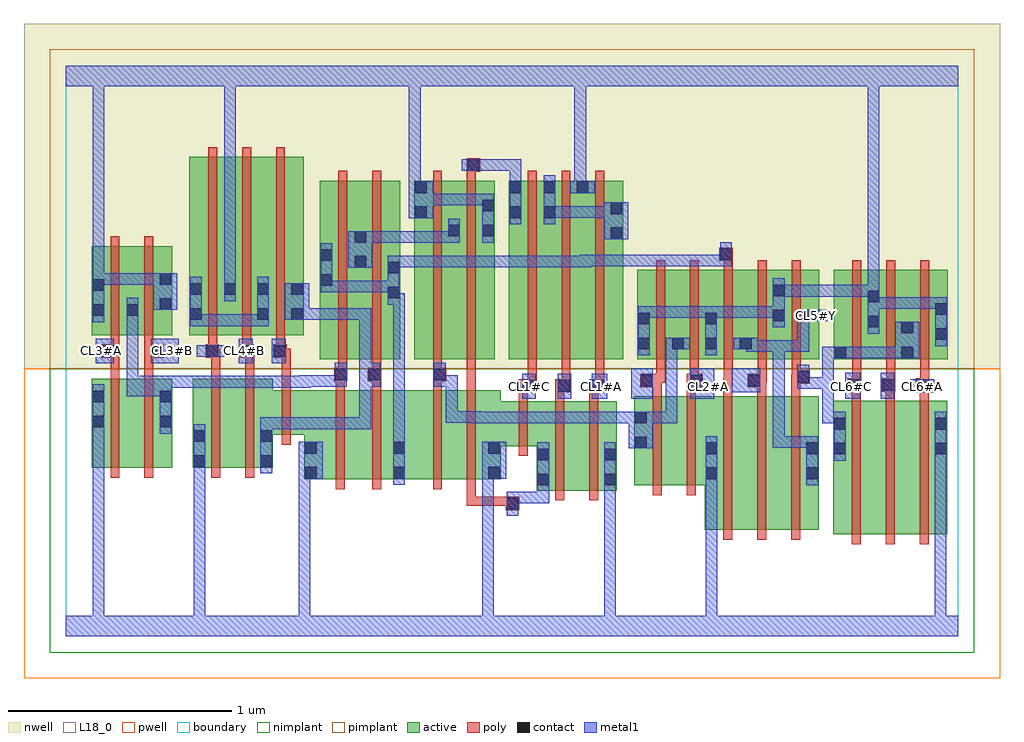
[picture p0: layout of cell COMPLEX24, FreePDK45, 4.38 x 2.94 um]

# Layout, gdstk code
import gdstk
lib = gdstk.Library(unit=1e-6, precision=1e-09)
def R(c, l, rs):  # rectangles x0, y0, x1, y1
    for r in rs: c.add(gdstk.rectangle(r[:2], r[2:], *l))
def A(c, l, x, y, w, h, nx, ny, dx, dy):  # array of equal rectangles
    R(c, l, [(x+i*dx, y+j*dy, x+i*dx+w, y+j*dy+h) for i in range(nx) for j in range(ny)])
active = (1, 0)
pwell = (2, 0)
nwell = (3, 0)
nimplant = (4, 0)
pimplant = (5, 0)
poly = (9, 0)
contact = (10, 0)
metal1 = (11, 0)
L18_0 = (18, 0)
boundary = (235, 0)

complex24 = lib.new_cell('COMPLEX24')
R(complex24, active, [(3.44,0.458,3.5,1.058), (3.44,0.458,3.62,1.058), (3.62,0.458,3.772,1.058), (3.772,0.458,3.952,1.058), (3.892,0.458,3.952,1.058), (2.864,0.478,3.044,1.078), (2.864,0.478,2.924,0.928), (3.044,0.478,3.196,1.078), (3.196,0.478,3.376,1.078), (3.316,0.556,3.376,1.078), (2.11,0.654,2.29,1.054), (2.11,0.654,2.17,1.054), (2.29,0.654,2.47,1.054), (2.41,0.654,2.47,1.054), (2.548,0.678,2.728,1.078), (2.728,0.678,2.924,1.078), (1.068,0.704,1.128,1.104), (1.068,0.704,1.318,1.104), (1.318,0.704,1.524,1.104), (1.464,0.704,1.742,1.104), (1.464,0.704,1.524,0.876), (1.742,0.704,1.95,1.104), (1.89,0.704,1.95,1.028), (0.116,0.756,0.296,1.156), (0.116,0.756,0.176,1.156), (0.296,0.756,0.476,1.156), (0.416,0.756,0.476,1.156), (0.568,0.756,0.748,1.156), (0.568,0.756,0.628,1.156), (0.748,0.756,0.928,1.156), (0.868,0.756,0.928,1.028), (2.548,0.756,2.608,1.078), (1.89,0.854,2.17,1.054), (0.868,0.904,1.128,1.104), (1.138,1.244,1.35,2.044), (1.138,1.244,1.198,2.044), (1.29,1.244,1.498,2.044), (1.438,1.244,1.498,2.044), (1.562,1.244,1.77,2.044), (1.71,1.244,1.922,2.044), (1.862,1.244,1.922,2.044), (1.986,1.244,2.198,2.044), (1.986,1.244,2.046,2.044), (2.138,1.244,2.346,2.044), (2.286,1.244,2.498,2.044), (2.562,1.244,2.622,1.644), (2.562,1.244,2.774,1.644), (2.714,1.244,2.922,1.644), (2.862,1.244,3.078,1.644), (3.018,1.244,3.226,1.644), (3.166,1.244,3.226,1.644), (3.166,1.244,3.378,1.644), (3.318,1.244,3.378,1.644), (3.442,1.244,3.502,1.644), (3.442,1.244,3.65,1.644), (3.59,1.244,3.802,1.644), (3.742,1.244,3.802,1.644), (3.742,1.244,3.954,1.644), (3.894,1.244,3.954,1.644), (2.714,1.284,2.774,1.644), (2.862,1.284,2.922,1.644), (3.018,1.284,3.078,1.644), (0.116,1.35,0.176,1.75), (0.116,1.35,0.328,1.75), (0.268,1.35,0.476,1.75), (0.416,1.35,0.476,1.75), (0.554,1.35,0.766,2.15), (0.554,1.35,0.614,2.044), (0.706,1.35,0.914,2.15), (0.854,1.35,1.066,2.15), (0.854,1.35,0.914,2.044), (1.006,1.35,1.066,2.044), (3.59,1.382,3.65,1.644), (1.29,1.426,1.35,2.044), (0.268,1.434,0.328,1.644), (1.562,1.452,1.622,2.044), (2.438,1.452,2.498,2.044), (1.71,1.5,1.77,2.044), (0.706,1.528,0.766,2.15), (2.138,1.686,2.198,2.044), (2.286,1.686,2.346,2.044)])
R(complex24, pwell, [(-0.188,-0.188,4.188,1.2)])
R(complex24, nwell, [(-0.188,1.2,4.188,2.748)])
R(complex24, nimplant, [(-0.072,-0.072,4.072,1.2)])
R(complex24, pimplant, [(-0.072,1.2,4.072,2.632)])
A(complex24, poly, 3.524, 0.414, 0.04, 0.688, 3, 1, 0.152, 0)
A(complex24, poly, 2.948, 0.434, 0.04, 0.688, 3, 1, 0.152, 0)
A(complex24, poly, 3.524, 1.062, 0.04, 0.076, 3, 1, 0.152, 0)
A(complex24, poly, 3.506, 1.098, 0.06, 0.06, 3, 1, 0.152, 0)
A(complex24, poly, 2.07, 1.114, 0.04, 0.126, 3, 1, 0.152, 0)
A(complex24, poly, 3.526, 1.118, 0.04, 0.122, 3, 1, 0.152, 0)
A(complex24, poly, 2.07, 1.2, 0.04, 0.888, 3, 1, 0.152, 0)
A(complex24, poly, 2.646, 1.2, 0.04, 0.488, 5, 1, 0.152, 0)
A(complex24, poly, 3.526, 1.2, 0.04, 0.488, 3, 1, 0.152, 0)
A(complex24, poly, 0.638, 1.27, 0.04, 0.076, 3, 1, 0.152, 0)
A(complex24, poly, 0.638, 1.306, 0.04, 0.888, 3, 1, 0.152, 0)
R(complex24, poly, [(1.972,0.566,2.032,0.626), (1.798,0.586,1.838,0.626), (1.798,0.586,1.838,0.626), (1.798,0.586,1.838,0.626), (1.798,0.586,2.012,0.626), (1.798,0.586,1.838,0.7), (1.972,0.586,2.012,0.626), (1.972,0.586,2.012,0.626), (2.194,0.61,2.234,1.098), (2.346,0.61,2.386,1.098), (2.632,0.634,2.672,1.122), (2.784,0.634,2.824,1.122), (1.21,0.66,1.25,1.148), (1.374,0.66,1.414,1.148), (1.646,0.66,1.686,1.148), (1.798,0.66,1.838,1.148), (0.2,0.712,0.24,1.2), (0.352,0.712,0.392,1.2), (0.652,0.712,0.692,1.2), (0.804,0.712,0.844,1.2), (2.03,0.81,2.07,1.098), (0.968,0.86,1.008,1.148), (2.03,1.058,2.07,1.134), (2.194,1.058,2.234,1.134), (2.346,1.058,2.386,1.134), (2.632,1.082,2.672,1.158), (2.784,1.082,2.824,1.158), (2.948,1.082,2.988,1.158), (3.1,1.082,3.14,1.158), (3.252,1.082,3.292,1.174), (2.03,1.094,2.102,1.154), (2.194,1.094,2.262,1.154), (2.346,1.094,2.414,1.154), (3.524,1.098,3.564,1.138), (3.524,1.098,3.564,1.138), (3.676,1.098,3.716,1.138), (3.676,1.098,3.716,1.138), (0.968,1.108,1.008,1.29), (1.21,1.108,1.25,1.184), (1.374,1.108,1.414,1.184), (1.646,1.108,1.686,1.184), (1.798,1.108,1.838,1.184), (2.062,1.114,2.102,1.154), (2.062,1.114,2.11,1.154), (2.222,1.114,2.262,1.154), (2.222,1.114,2.262,1.154), (2.374,1.114,2.414,1.154), (2.374,1.114,2.414,1.154), (2.576,1.118,2.672,1.178), (2.784,1.118,2.856,1.178), (2.948,1.118,2.988,1.158), (2.948,1.118,2.988,1.158), (2.948,1.118,2.99,1.158), (2.95,1.118,2.99,1.24), (3.056,1.118,3.14,1.178), (3.83,1.118,3.87,1.158), (3.83,1.118,3.87,1.158), (3.252,1.134,3.294,1.174), (3.254,1.134,3.294,1.174), (3.254,1.134,3.336,1.194), (2.632,1.138,2.672,1.178), (2.632,1.138,2.686,1.178), (2.646,1.138,2.686,1.24), (2.798,1.138,2.838,1.178), (2.798,1.138,2.838,1.178), (2.798,1.138,2.838,1.24), (3.1,1.138,3.14,1.178), (3.1,1.138,3.142,1.178), (3.102,1.138,3.142,1.24), (1.202,1.144,1.262,1.204), (1.354,1.144,1.414,1.204), (1.646,1.144,1.706,1.204), (1.798,1.144,1.838,1.184), (1.798,1.144,1.838,1.184), (1.798,1.144,1.838,1.184), (1.798,1.144,1.838,1.24), (3.254,1.154,3.294,1.24), (0.2,1.16,0.24,1.29), (0.352,1.16,0.392,1.29), (0.652,1.16,0.692,1.29), (0.804,1.16,0.844,1.29), (1.222,1.164,1.262,1.204), (1.222,1.164,1.262,1.204), (1.222,1.164,1.262,1.24), (1.374,1.164,1.414,1.204), (1.374,1.164,1.414,1.204), (1.374,1.164,1.414,1.24), (1.646,1.164,1.686,1.204), (1.646,1.164,1.686,1.204), (1.646,1.164,1.686,1.24), (1.222,1.2,1.262,2.088), (1.374,1.2,1.414,2.088), (1.646,1.2,1.686,2.088), (1.798,1.2,1.838,2.088), (0.158,1.25,0.24,1.31), (0.2,1.25,0.24,1.29), (0.2,1.25,0.24,1.29), (0.352,1.25,0.392,1.29), (0.352,1.25,0.392,1.29), (0.352,1.25,0.438,1.31), (0.626,1.25,0.686,1.31), (0.646,1.25,0.686,1.29), (0.646,1.25,0.692,1.29), (0.782,1.25,0.842,1.31), (0.802,1.25,0.842,1.29), (0.802,1.25,0.844,1.29), (0.93,1.25,0.99,1.31), (0.95,1.25,0.99,1.29), (0.95,1.25,1.008,1.29), (0.2,1.27,0.24,1.346), (0.352,1.27,0.392,1.346), (0.2,1.306,0.24,1.794), (0.352,1.306,0.392,1.794), (2.95,1.648,2.99,1.724), (2.93,1.684,2.99,1.744), (1.798,2.048,1.838,2.124), (1.798,2.084,1.858,2.144)])
A(complex24, contact, 3.51, 1.102, 0.052, 0.052, 3, 1, 0.152, 0)
R(complex24, contact, [(1.976,0.57,2.028,0.622), (2.114,0.678,2.166,0.73), (2.414,0.678,2.466,0.73), (2.868,0.706,2.92,0.758), (3.32,0.706,3.372,0.758), (1.072,0.708,1.124,0.76), (1.468,0.708,1.52,0.76), (1.894,0.708,1.946,0.76), (0.572,0.76,0.624,0.812), (0.872,0.76,0.924,0.812), (2.114,0.79,2.166,0.842), (2.414,0.79,2.466,0.842), (3.444,0.816,3.496,0.868), (3.896,0.816,3.948,0.868), (2.868,0.818,2.92,0.87), (3.32,0.818,3.372,0.87), (1.072,0.82,1.124,0.872), (1.468,0.82,1.52,0.872), (1.894,0.82,1.946,0.872), (2.552,0.844,2.604,0.896), (0.572,0.872,0.624,0.924), (0.872,0.872,0.924,0.924), (3.444,0.928,3.496,0.98), (3.896,0.928,3.948,0.98), (0.12,0.938,0.172,0.99), (0.42,0.938,0.472,0.99), (2.552,0.956,2.604,1.008), (0.12,1.05,0.172,1.102), (0.42,1.05,0.472,1.102), (2.046,1.098,2.098,1.15), (2.206,1.098,2.258,1.15), (2.358,1.098,2.41,1.15), (2.58,1.122,2.632,1.174), (2.8,1.122,2.852,1.174), (3.06,1.122,3.112,1.174), (3.28,1.138,3.332,1.19), (1.206,1.148,1.258,1.2), (1.358,1.148,1.41,1.2), (1.65,1.148,1.702,1.2), (3.446,1.248,3.498,1.3), (3.746,1.248,3.798,1.3), (0.162,1.254,0.214,1.306), (0.382,1.254,0.434,1.306), (0.63,1.254,0.682,1.306), (0.786,1.254,0.838,1.306), (0.934,1.254,0.986,1.306), (2.566,1.288,2.618,1.34), (2.718,1.288,2.77,1.34), (2.866,1.288,2.918,1.34), (3.022,1.288,3.074,1.34), (3.898,1.33,3.95,1.382), (3.746,1.36,3.798,1.412), (3.594,1.386,3.646,1.438), (2.566,1.4,2.618,1.452), (2.866,1.4,2.918,1.452), (3.17,1.414,3.222,1.466), (3.322,1.414,3.374,1.466), (0.558,1.42,0.61,1.472), (0.858,1.42,0.91,1.472), (1.01,1.42,1.062,1.472), (0.12,1.438,0.172,1.49), (0.272,1.438,0.324,1.49), (3.898,1.442,3.95,1.494), (0.42,1.464,0.472,1.516), (3.594,1.498,3.646,1.55), (1.442,1.516,1.494,1.568), (3.17,1.526,3.222,1.578), (0.558,1.532,0.61,1.584), (0.71,1.532,0.762,1.584), (0.858,1.532,0.91,1.584), (1.01,1.532,1.062,1.584), (0.12,1.55,0.172,1.602), (1.142,1.572,1.194,1.624), (0.42,1.576,0.472,1.628), (1.442,1.628,1.494,1.68), (1.294,1.654,1.346,1.706), (1.142,1.684,1.194,1.736), (2.934,1.688,2.986,1.74), (1.294,1.766,1.346,1.818), (2.442,1.782,2.494,1.834), (1.714,1.794,1.766,1.846), (1.866,1.794,1.918,1.846), (1.566,1.876,1.618,1.928), (1.99,1.876,2.042,1.928), (2.142,1.876,2.194,1.928), (2.442,1.894,2.494,1.946), (1.866,1.906,1.918,1.958), (1.566,1.988,1.618,2.04), (1.99,1.988,2.042,2.04), (2.142,1.988,2.194,2.04), (2.29,1.988,2.342,2.04), (1.802,2.088,1.854,2.14)])
R(complex24, metal1, [(0,0,4,0.092), (0.12,0.04,0.172,0.092), (0.12,0.04,0.172,0.092), (0.12,0.04,0.172,0.962), (0.572,0.04,0.624,0.092), (0.572,0.04,0.624,0.092), (0.572,0.04,0.624,0.092), (0.572,0.04,0.624,0.092), (0.572,0.04,0.624,0.784), (1.044,0.04,1.096,0.092), (1.044,0.04,1.096,0.092), (1.044,0.04,1.096,0.092), (1.044,0.04,1.096,0.092), (1.044,0.04,1.096,0.092), (1.044,0.04,1.096,0.092), (1.044,0.04,1.096,0.092), (1.044,0.04,1.096,0.092), (1.044,0.04,1.096,0.76), (1.866,0.04,1.918,0.092), (1.866,0.04,1.918,0.092), (1.866,0.04,1.918,0.76), (2.414,0.04,2.466,0.092), (2.414,0.04,2.466,0.092), (2.414,0.04,2.466,0.702), (2.868,0.04,2.92,0.092), (2.868,0.04,2.92,0.092), (2.868,0.04,2.92,0.73), (3.896,0.04,3.948,0.092), (3.896,0.04,3.948,0.092), (3.896,0.04,3.948,0.84), (1.976,0.542,2.028,0.65), (1.976,0.598,2.166,0.65), (2.114,0.598,2.166,0.65), (2.114,0.598,2.166,0.702), (2.114,0.65,2.166,0.87), (2.414,0.65,2.466,0.702), (2.414,0.65,2.466,0.702), (2.414,0.65,2.466,0.702), (2.414,0.65,2.466,0.702), (2.414,0.65,2.466,0.702), (2.414,0.65,2.466,0.702), (2.414,0.65,2.466,0.702), (2.414,0.65,2.466,0.702), (2.414,0.65,2.466,0.702), (2.414,0.65,2.466,0.702), (2.414,0.65,2.466,0.87), (2.868,0.678,2.92,0.73), (2.868,0.678,2.92,0.73), (2.868,0.678,2.92,0.73), (2.868,0.678,2.92,0.73), (2.868,0.678,2.92,0.73), (2.868,0.678,2.92,0.73), (2.868,0.678,2.92,0.898), (3.32,0.678,3.372,0.898), (1.468,0.68,1.52,0.9), (1.044,0.708,1.096,0.76), (1.044,0.708,1.096,0.76), (1.044,0.708,1.096,0.76), (1.044,0.708,1.096,0.76), (1.044,0.708,1.152,0.872), (1.866,0.708,1.918,0.76), (1.866,0.708,1.918,0.76), (1.866,0.708,1.918,0.76), (1.866,0.708,1.918,0.76), (1.866,0.708,1.918,0.76), (1.866,0.708,1.918,0.76), (1.866,0.708,1.918,0.76), (1.866,0.708,1.918,0.76), (1.866,0.708,1.918,0.76), (1.866,0.708,1.918,0.76), (1.866,0.708,1.974,0.872), (0.572,0.732,0.624,0.784), (0.572,0.732,0.624,0.784), (0.572,0.732,0.624,0.784), (0.572,0.732,0.624,0.784), (0.572,0.732,0.624,0.784), (0.572,0.732,0.624,0.784), (0.572,0.732,0.624,0.784), (0.572,0.732,0.624,0.784), (0.572,0.732,0.624,0.952), (0.872,0.732,0.924,0.952), (3.444,0.788,3.496,1.008), (3.896,0.788,3.948,0.84), (3.896,0.788,3.948,0.84), (3.896,0.788,3.948,0.84), (3.896,0.788,3.948,0.84), (3.896,0.788,3.948,0.84), (3.896,0.788,3.948,0.84), (3.896,0.788,3.948,1.008), (2.524,0.844,2.632,1.008), (3.17,0.846,3.222,0.898), (3.17,0.846,3.222,0.898), (3.17,0.846,3.222,0.898), (3.17,0.846,3.222,0.898), (3.17,0.846,3.222,0.898), (3.17,0.846,3.222,0.898), (3.17,0.846,3.222,0.898), (3.17,0.846,3.372,0.898), (3.17,0.846,3.222,1.328), (1.468,0.848,1.52,0.9), (1.468,0.848,1.52,0.9), (1.468,0.848,1.52,1.54), (0.872,0.9,0.924,0.952), (0.872,0.9,0.924,0.982), (0.12,0.91,0.172,0.962), (0.12,0.91,0.172,0.962), (0.12,0.91,0.172,0.962), (0.12,0.91,0.172,0.962), (0.12,0.91,0.172,0.962), (0.12,0.91,0.172,0.962), (0.12,0.91,0.172,0.962), (0.12,0.91,0.172,0.962), (0.12,0.91,0.172,0.962), (0.12,0.91,0.172,0.962), (0.12,0.91,0.172,1.13), (0.42,0.91,0.472,1.13), (0.872,0.93,1.034,0.982), (0.982,0.93,1.034,0.982), (0.982,0.93,1.208,0.982), (1.156,0.93,1.208,0.982), (1.156,0.93,1.208,0.982), (1.156,0.93,1.208,0.982), (1.156,0.93,1.368,0.982), (1.316,0.93,1.368,0.982), (1.316,0.93,1.368,1.172), (1.814,0.956,2.028,1.008), (1.814,0.956,1.866,1.01), (1.976,0.956,2.028,1.008), (1.976,0.956,2.028,1.008), (1.976,0.956,2.028,1.008), (1.976,0.956,2.15,1.008), (2.098,0.956,2.15,1.008), (2.098,0.956,2.236,1.008), (2.184,0.956,2.236,1.008), (2.184,0.956,2.346,1.008), (2.294,0.956,2.346,1.008), (2.294,0.956,2.346,1.008), (2.294,0.956,2.346,1.008), (2.294,0.956,2.466,1.008), (2.414,0.956,2.466,1.008), (2.414,0.956,2.576,1.008), (2.58,0.956,2.632,1.008), (2.58,0.956,2.632,1.008), (2.58,0.956,2.742,1.008), (2.69,0.956,2.742,1.008), (2.69,0.956,2.742,1.34), (3.39,0.956,3.442,1.162), (3.39,0.956,3.496,1.008), (3.444,0.956,3.496,1.008), (1.704,0.958,1.756,1.01), (1.704,0.958,1.866,1.01), (1.704,0.958,1.756,1.172), (1.814,0.958,1.866,1.01), (1.814,0.958,1.866,1.01), (2.046,1.066,2.106,1.178), (2.206,1.066,2.266,1.178), (2.358,1.066,2.426,1.178), (2.534,1.066,2.632,1.202), (2.8,1.066,2.906,1.202), (3.494,1.066,3.562,1.182), (3.654,1.066,3.714,1.182), (0.272,1.078,0.324,1.13), (0.272,1.078,0.324,1.13), (0.272,1.078,0.324,1.13), (0.272,1.078,0.472,1.13), (0.272,1.078,0.324,1.168), (3.786,1.092,3.894,1.154), (2.986,1.094,3.112,1.202), (3.28,1.11,3.332,1.162), (3.28,1.11,3.332,1.162), (3.28,1.11,3.442,1.162), (3.28,1.11,3.332,1.218), (3.39,1.11,3.442,1.162), (3.39,1.11,3.442,1.3), (0.272,1.116,0.324,1.168), (0.272,1.116,0.324,1.168), (0.272,1.116,0.324,1.168), (0.272,1.116,0.5,1.168), (0.272,1.116,0.324,1.462), (0.448,1.116,0.5,1.168), (0.448,1.116,0.636,1.168), (0.584,1.116,0.636,1.168), (0.584,1.116,0.636,1.168), (0.584,1.116,0.636,1.168), (0.584,1.116,0.8,1.168), (0.748,1.116,0.8,1.168), (0.748,1.116,0.8,1.168), (0.748,1.116,0.8,1.168), (0.748,1.116,0.91,1.168), (0.858,1.116,0.91,1.168), (0.858,1.116,0.91,1.168), (0.858,1.116,0.91,1.168), (0.858,1.116,1.098,1.168), (1.046,1.116,1.098,1.168), (1.046,1.116,1.098,1.168), (1.046,1.116,1.098,1.172), (1.046,1.12,1.258,1.172), (1.206,1.12,1.258,1.228), (1.316,1.12,1.368,1.172), (1.316,1.12,1.41,1.172), (1.316,1.12,1.368,1.472), (1.358,1.12,1.41,1.228), (1.65,1.12,1.756,1.172), (1.65,1.12,1.702,1.228), (1.704,1.12,1.756,1.172), (0.134,1.226,0.214,1.334), (0.382,1.226,0.506,1.334), (0.774,1.226,0.838,1.334), (0.922,1.226,0.986,1.334), (3.39,1.248,3.526,1.3), (3.474,1.248,3.526,1.3), (3.474,1.248,3.526,1.3), (3.474,1.248,3.636,1.3), (3.584,1.248,3.636,1.3), (3.584,1.248,3.636,1.3), (3.584,1.248,3.636,1.3), (3.584,1.248,3.77,1.3), (3.718,1.248,3.826,1.412), (0.586,1.254,0.71,1.306), (2.566,1.26,2.618,1.48), (2.866,1.26,2.918,1.48), (3.05,1.276,3.222,1.328), (3.05,1.276,3.102,1.34), (3.17,1.276,3.222,1.328), (3.17,1.276,3.332,1.328), (3.28,1.276,3.332,1.328), (3.28,1.276,3.332,1.328), (3.28,1.276,3.332,1.328), (3.28,1.276,3.332,1.466), (2.69,1.288,2.742,1.34), (2.69,1.288,2.742,1.34), (2.69,1.288,2.742,1.34), (2.69,1.288,2.742,1.34), (2.69,1.288,2.798,1.34), (2.994,1.288,3.102,1.34), (3.05,1.288,3.102,1.34), (3.898,1.302,3.95,1.522), (3.594,1.358,3.646,1.578), (3.17,1.386,3.222,1.606), (0.558,1.392,0.61,1.444), (0.558,1.392,0.61,1.444), (0.558,1.392,0.61,1.612), (0.558,1.392,0.746,1.444), (0.694,1.392,0.746,1.444), (0.694,1.392,0.746,1.444), (0.694,1.392,0.746,1.444), (0.694,1.392,0.91,1.444), (0.858,1.392,0.91,1.612), (0.12,1.41,0.172,1.63), (0.272,1.41,0.324,1.462), (0.272,1.41,0.324,1.462), (0.272,1.41,0.324,1.518), (3.28,1.414,3.414,1.466), (0.982,1.42,1.09,1.584), (1.038,1.42,1.09,1.472), (1.038,1.42,1.09,1.472), (1.038,1.42,1.208,1.472), (1.156,1.42,1.208,1.472), (1.156,1.42,1.208,1.472), (1.156,1.42,1.208,1.472), (1.156,1.42,1.368,1.472), (1.316,1.42,1.368,1.472), (2.566,1.428,2.618,1.48), (2.566,1.428,2.618,1.48), (2.566,1.428,2.808,1.48), (2.756,1.428,2.808,1.48), (2.756,1.428,2.808,1.48), (2.756,1.428,2.808,1.48), (2.756,1.428,2.918,1.48), (2.866,1.428,2.918,1.48), (2.866,1.428,2.918,1.48), (2.866,1.428,3.028,1.48), (2.976,1.428,3.028,1.48), (2.976,1.428,3.028,1.48), (2.976,1.428,3.028,1.48), (2.976,1.428,3.222,1.48), (0.392,1.464,0.5,1.628), (3.594,1.47,3.646,1.522), (3.594,1.47,3.646,1.522), (3.594,1.47,3.78,1.522), (3.728,1.47,3.78,1.522), (3.728,1.47,3.95,1.522), (3.898,1.47,3.95,1.522), (3.898,1.47,3.95,1.522), (1.442,1.488,1.494,1.54), (1.442,1.488,1.494,1.708), (1.442,1.488,1.52,1.54), (0.71,1.504,0.762,1.612), (3.17,1.524,3.222,1.576), (3.17,1.524,3.222,1.576), (3.17,1.524,3.332,1.576), (3.28,1.524,3.332,1.576), (3.28,1.524,3.494,1.576), (3.442,1.524,3.494,1.576), (3.442,1.524,3.494,1.576), (3.442,1.524,3.494,1.576), (3.442,1.524,3.646,1.576), (3.594,1.526,3.646,1.578), (3.594,1.526,3.646,1.578), (3.594,1.526,3.646,1.578), (3.594,1.526,3.646,1.578), (3.594,1.526,3.646,1.578), (3.594,1.526,3.646,1.578), (3.594,1.526,3.646,1.578), (3.594,1.526,3.646,1.578), (3.594,1.526,3.646,1.578), (3.594,1.526,3.646,1.578), (3.594,1.526,3.646,1.578), (3.594,1.526,3.646,1.578), (3.594,1.526,3.646,1.578), (3.594,1.526,3.646,1.578), (3.594,1.526,3.646,2.52), (1.142,1.544,1.194,1.764), (1.142,1.544,1.274,1.596), (1.222,1.544,1.274,1.596), (1.222,1.544,1.384,1.596), (1.332,1.544,1.384,1.596), (1.332,1.544,1.384,1.596), (1.332,1.544,1.384,1.596), (1.332,1.544,1.494,1.596), (0.71,1.56,0.762,2.52), (0.12,1.576,0.172,1.628), (0.12,1.576,0.172,1.628), (0.12,1.576,0.282,1.628), (0.23,1.576,0.282,1.628), (0.23,1.576,0.444,1.628), (0.392,1.576,0.444,1.628), (0.392,1.576,0.444,1.628), (0.12,1.578,0.172,1.63), (0.12,1.578,0.172,1.63), (0.12,1.578,0.172,1.63), (0.12,1.578,0.172,1.63), (0.12,1.578,0.172,1.63), (0.12,1.578,0.172,1.63), (0.12,1.578,0.172,2.52), (1.266,1.654,1.374,1.818), (1.442,1.656,1.636,1.708), (1.584,1.656,1.636,1.708), (1.584,1.656,1.636,1.708), (1.584,1.656,1.636,1.708), (1.584,1.656,1.756,1.708), (1.704,1.656,1.756,1.708), (1.704,1.656,1.866,1.708), (1.814,1.656,1.866,1.708), (1.814,1.656,1.866,1.708), (1.814,1.656,1.866,1.708), (1.814,1.656,2.04,1.708), (1.988,1.656,2.04,1.708), (1.988,1.656,2.04,1.708), (1.988,1.656,2.04,1.708), (1.988,1.656,2.192,1.708), (2.14,1.656,2.192,1.708), (2.14,1.656,2.192,1.708), (2.14,1.656,2.192,1.708), (2.14,1.656,2.192,1.708), (2.14,1.656,2.192,1.708), (2.14,1.656,2.192,1.708), (2.14,1.656,2.192,1.708), (2.14,1.656,2.192,1.708), (2.14,1.656,2.192,1.708), (2.14,1.656,2.192,1.708), (2.14,1.656,2.192,1.708), (2.14,1.656,2.356,1.708), (2.304,1.656,2.356,1.712), (2.304,1.66,2.356,1.712), (2.304,1.66,2.356,1.712), (2.304,1.66,2.476,1.712), (2.424,1.66,2.476,1.712), (2.424,1.66,2.476,1.712), (2.424,1.66,2.476,1.712), (2.424,1.66,2.656,1.712), (2.604,1.66,2.656,1.712), (2.604,1.66,2.766,1.712), (2.714,1.66,2.766,1.712), (2.714,1.66,2.766,1.712), (2.714,1.66,2.766,1.712), (2.714,1.66,2.918,1.712), (2.866,1.66,2.918,1.712), (2.866,1.66,2.986,1.712), (2.934,1.66,2.986,1.768), (1.322,1.766,1.48,1.818), (1.428,1.766,1.48,1.818), (1.428,1.766,1.494,1.818), (1.442,1.766,1.494,1.818), (1.442,1.766,1.624,1.818), (1.572,1.766,1.624,1.818), (1.572,1.766,1.716,1.818), (1.664,1.766,1.716,1.818), (1.664,1.766,1.766,1.818), (1.714,1.766,1.766,1.874), (1.866,1.766,1.918,1.986), (2.414,1.782,2.522,1.946), (1.99,1.848,2.042,2.068), (2.142,1.848,2.194,2.068), (1.538,1.876,1.646,2.04), (2.142,1.878,2.194,1.93), (2.142,1.878,2.194,1.93), (2.142,1.878,2.346,1.93), (2.294,1.878,2.346,1.93), (2.294,1.878,2.346,1.93), (2.294,1.878,2.346,1.93), (2.294,1.878,2.466,1.93), (1.594,1.934,1.646,1.986), (1.594,1.934,1.646,1.986), (1.594,1.934,1.756,1.986), (1.704,1.934,1.756,1.986), (1.704,1.934,1.918,1.986), (1.866,1.934,1.918,1.986), (1.866,1.934,1.918,1.986), (1.538,1.988,1.59,2.04), (1.538,1.988,1.59,2.04), (1.538,1.988,1.59,2.04), (1.538,1.988,1.59,2.04), (1.538,1.988,1.59,2.04), (1.538,1.988,1.59,2.04), (1.538,1.988,1.59,2.52), (2.262,1.988,2.37,2.04), (2.28,1.988,2.332,2.04), (2.28,1.988,2.332,2.04), (2.28,1.988,2.332,2.04), (2.28,1.988,2.332,2.04), (2.28,1.988,2.332,2.04), (2.28,1.988,2.332,2.04), (2.28,1.988,2.332,2.52), (1.99,2.016,2.042,2.14), (1.774,2.088,1.882,2.14), (1.83,2.088,1.882,2.14), (1.83,2.088,1.882,2.14), (1.83,2.088,2.042,2.14), (1.99,2.088,2.042,2.14), (0,2.468,4,2.56), (0.12,2.468,0.172,2.52), (0.12,2.468,0.172,2.52), (0.12,2.468,0.172,2.52), (0.12,2.468,0.172,2.52), (0.12,2.468,0.172,2.52), (0.12,2.468,0.172,2.52), (0.12,2.468,0.172,2.52), (0.12,2.468,0.172,2.52), (0.12,2.468,0.172,2.52), (0.12,2.468,0.172,2.52), (0.71,2.468,0.762,2.52), (0.71,2.468,0.762,2.52), (0.71,2.468,0.762,2.52), (0.71,2.468,0.762,2.52), (0.71,2.468,0.762,2.52), (0.71,2.468,0.762,2.52), (0.71,2.468,0.762,2.52), (0.71,2.468,0.762,2.52), (1.538,2.468,1.59,2.52), (1.538,2.468,1.59,2.52), (2.28,2.468,2.332,2.52), (2.28,2.468,2.332,2.52), (3.594,2.468,3.646,2.52), (3.594,2.468,3.646,2.52)])
A(complex24, L18_0, 2.054, 1.094, 0.052, 0.052, 4, 1, 0.16, 0)
A(complex24, L18_0, 3.494, 1.094, 0.052, 0.052, 3, 1, 0.16, 0)
A(complex24, L18_0, 0.454, 1.254, 0.052, 0.052, 4, 1, 0.16, 0)
R(complex24, L18_0, [(0,0,4,0.092), (0.12,0.04,0.172,0.092), (0.12,0.04,0.172,0.092), (0.12,0.04,0.172,0.962), (0.572,0.04,0.624,0.092), (0.572,0.04,0.624,0.092), (0.572,0.04,0.624,0.092), (0.572,0.04,0.624,0.092), (0.572,0.04,0.624,0.784), (1.044,0.04,1.096,0.092), (1.044,0.04,1.096,0.092), (1.044,0.04,1.096,0.092), (1.044,0.04,1.096,0.092), (1.044,0.04,1.096,0.092), (1.044,0.04,1.096,0.092), (1.044,0.04,1.096,0.092), (1.044,0.04,1.096,0.092), (1.044,0.04,1.096,0.76), (1.866,0.04,1.918,0.092), (1.866,0.04,1.918,0.092), (1.866,0.04,1.918,0.76), (2.414,0.04,2.466,0.092), (2.414,0.04,2.466,0.092), (2.414,0.04,2.466,0.702), (2.868,0.04,2.92,0.092), (2.868,0.04,2.92,0.092), (2.868,0.04,2.92,0.73), (3.896,0.04,3.948,0.092), (3.896,0.04,3.948,0.092), (3.896,0.04,3.948,0.84), (2.414,0.65,2.466,0.702), (2.414,0.65,2.466,0.702), (2.414,0.65,2.466,0.702), (2.414,0.65,2.466,0.702), (2.414,0.65,2.466,0.702), (2.414,0.65,2.466,0.702), (2.414,0.65,2.466,0.702), (2.414,0.65,2.466,0.702), (2.414,0.65,2.466,0.702), (2.414,0.65,2.466,0.702), (2.414,0.65,2.466,0.87), (2.868,0.678,2.92,0.73), (2.868,0.678,2.92,0.73), (2.868,0.678,2.92,0.73), (2.868,0.678,2.92,0.73), (2.868,0.678,2.92,0.73), (2.868,0.678,2.92,0.73), (2.868,0.678,2.92,0.898), (3.32,0.678,3.372,0.898), (1.044,0.708,1.096,0.76), (1.044,0.708,1.096,0.76), (1.044,0.708,1.096,0.76), (1.044,0.708,1.096,0.76), (1.044,0.708,1.152,0.872), (1.866,0.708,1.918,0.76), (1.866,0.708,1.918,0.76), (1.866,0.708,1.918,0.76), (1.866,0.708,1.918,0.76), (1.866,0.708,1.918,0.76), (1.866,0.708,1.918,0.76), (1.866,0.708,1.918,0.76), (1.866,0.708,1.918,0.76), (1.866,0.708,1.918,0.76), (1.866,0.708,1.918,0.76), (1.866,0.708,1.974,0.872), (0.572,0.732,0.624,0.784), (0.572,0.732,0.624,0.784), (0.572,0.732,0.624,0.784), (0.572,0.732,0.624,0.784), (0.572,0.732,0.624,0.784), (0.572,0.732,0.624,0.784), (0.572,0.732,0.624,0.784), (0.572,0.732,0.624,0.784), (0.572,0.732,0.624,0.952), (3.896,0.788,3.948,0.84), (3.896,0.788,3.948,0.84), (3.896,0.788,3.948,0.84), (3.896,0.788,3.948,0.84), (3.896,0.788,3.948,0.84), (3.896,0.788,3.948,0.84), (3.896,0.788,3.948,1.008), (3.17,0.846,3.222,0.898), (3.17,0.846,3.222,0.898), (3.17,0.846,3.222,0.898), (3.17,0.846,3.222,0.898), (3.17,0.846,3.222,0.898), (3.17,0.846,3.222,0.898), (3.17,0.846,3.222,0.898), (3.17,0.846,3.222,1.328), (3.17,0.846,3.372,0.898), (0.12,0.91,0.172,0.962), (0.12,0.91,0.172,0.962), (0.12,0.91,0.172,0.962), (0.12,0.91,0.172,0.962), (0.12,0.91,0.172,0.962), (0.12,0.91,0.172,0.962), (0.12,0.91,0.172,0.962), (0.12,0.91,0.172,0.962), (0.12,0.91,0.172,0.962), (0.12,0.91,0.172,0.962), (0.12,0.91,0.172,1.13), (2.046,1.066,2.106,1.178), (2.206,1.066,2.266,1.178), (2.358,1.066,2.426,1.178), (2.534,1.066,2.632,1.202), (2.8,1.066,2.906,1.202), (3.494,1.066,3.562,1.182), (3.654,1.066,3.714,1.182), (3.786,1.092,3.894,1.154), (2.854,1.094,2.906,1.146), (2.986,1.094,3.112,1.202), (3.014,1.094,3.066,1.146), (0.134,1.226,0.214,1.334), (0.382,1.226,0.506,1.334), (0.774,1.226,0.838,1.334), (0.922,1.226,0.986,1.334), (0.134,1.254,0.186,1.306), (0.586,1.254,0.71,1.306), (2.566,1.26,2.618,1.48), (2.866,1.26,2.918,1.48), (3.05,1.276,3.102,1.34), (3.05,1.276,3.222,1.328), (3.17,1.276,3.222,1.328), (3.17,1.276,3.332,1.328), (3.28,1.276,3.332,1.328), (3.28,1.276,3.332,1.328), (3.28,1.276,3.332,1.328), (3.28,1.276,3.332,1.466), (2.994,1.288,3.102,1.34), (3.05,1.288,3.102,1.34), (3.898,1.302,3.95,1.522), (3.594,1.358,3.646,1.578), (3.17,1.386,3.222,1.606), (0.12,1.41,0.172,1.63), (3.28,1.414,3.414,1.466), (3.334,1.414,3.386,1.466), (2.566,1.428,2.618,1.48), (2.566,1.428,2.618,1.48), (2.566,1.428,2.808,1.48), (2.756,1.428,2.808,1.48), (2.756,1.428,2.808,1.48), (2.756,1.428,2.808,1.48), (2.756,1.428,2.918,1.48), (2.866,1.428,2.918,1.48), (2.866,1.428,2.918,1.48), (2.866,1.428,3.028,1.48), (2.976,1.428,3.028,1.48), (2.976,1.428,3.028,1.48), (2.976,1.428,3.028,1.48), (2.976,1.428,3.222,1.48), (0.392,1.464,0.5,1.628), (3.594,1.47,3.646,1.522), (3.594,1.47,3.646,1.522), (3.594,1.47,3.78,1.522), (3.728,1.47,3.78,1.522), (3.728,1.47,3.95,1.522), (3.898,1.47,3.95,1.522), (3.898,1.47,3.95,1.522), (0.71,1.504,0.762,1.612), (3.17,1.524,3.222,1.576), (3.17,1.524,3.222,1.576), (3.17,1.524,3.332,1.576), (3.28,1.524,3.332,1.576), (3.28,1.524,3.494,1.576), (3.442,1.524,3.494,1.576), (3.442,1.524,3.494,1.576), (3.442,1.524,3.494,1.576), (3.442,1.524,3.646,1.576), (3.594,1.526,3.646,1.578), (3.594,1.526,3.646,1.578), (3.594,1.526,3.646,1.578), (3.594,1.526,3.646,1.578), (3.594,1.526,3.646,1.578), (3.594,1.526,3.646,1.578), (3.594,1.526,3.646,1.578), (3.594,1.526,3.646,1.578), (3.594,1.526,3.646,1.578), (3.594,1.526,3.646,1.578), (3.594,1.526,3.646,1.578), (3.594,1.526,3.646,1.578), (3.594,1.526,3.646,1.578), (3.594,1.526,3.646,1.578), (3.594,1.526,3.646,2.52), (0.71,1.56,0.762,2.52), (0.12,1.576,0.172,1.628), (0.12,1.576,0.172,1.628), (0.12,1.576,0.282,1.628), (0.23,1.576,0.282,1.628), (0.23,1.576,0.444,1.628), (0.392,1.576,0.444,1.628), (0.392,1.576,0.444,1.628), (0.12,1.578,0.172,1.63), (0.12,1.578,0.172,1.63), (0.12,1.578,0.172,1.63), (0.12,1.578,0.172,1.63), (0.12,1.578,0.172,1.63), (0.12,1.578,0.172,1.63), (0.12,1.578,0.172,2.52), (1.866,1.766,1.918,1.986), (1.538,1.876,1.646,2.04), (1.594,1.934,1.646,1.986), (1.594,1.934,1.646,1.986), (1.594,1.934,1.756,1.986), (1.704,1.934,1.756,1.986), (1.704,1.934,1.918,1.986), (1.866,1.934,1.918,1.986), (1.866,1.934,1.918,1.986), (1.538,1.988,1.59,2.04), (1.538,1.988,1.59,2.04), (1.538,1.988,1.59,2.04), (1.538,1.988,1.59,2.04), (1.538,1.988,1.59,2.04), (1.538,1.988,1.59,2.04), (1.538,1.988,1.59,2.52), (2.262,1.988,2.37,2.04), (2.28,1.988,2.332,2.04), (2.28,1.988,2.332,2.04), (2.28,1.988,2.332,2.04), (2.28,1.988,2.332,2.04), (2.28,1.988,2.332,2.04), (2.28,1.988,2.332,2.04), (2.28,1.988,2.332,2.52), (0,2.468,4,2.56), (0.12,2.468,0.172,2.52), (0.12,2.468,0.172,2.52), (0.12,2.468,0.172,2.52), (0.12,2.468,0.172,2.52), (0.12,2.468,0.172,2.52), (0.12,2.468,0.172,2.52), (0.12,2.468,0.172,2.52), (0.12,2.468,0.172,2.52), (0.12,2.468,0.172,2.52), (0.12,2.468,0.172,2.52), (0.71,2.468,0.762,2.52), (0.71,2.468,0.762,2.52), (0.71,2.468,0.762,2.52), (0.71,2.468,0.762,2.52), (0.71,2.468,0.762,2.52), (0.71,2.468,0.762,2.52), (0.71,2.468,0.762,2.52), (0.71,2.468,0.762,2.52), (1.538,2.468,1.59,2.52), (1.538,2.468,1.59,2.52), (2.28,2.468,2.332,2.52), (2.28,2.468,2.332,2.52), (3.594,2.468,3.646,2.52), (3.594,2.468,3.646,2.52)])
R(complex24, boundary, [(0,0,4,2.56)])
complex24.add(gdstk.Label('CL1#A', (2.4,1.12), layer=11, texttype=0))
complex24.add(gdstk.Label('CL1#B', (2.24,1.12), layer=11, texttype=0))
complex24.add(gdstk.Label('CL1#C', (2.08,1.12), layer=11, texttype=0))
complex24.add(gdstk.Label('CL2#A', (2.88,1.12), layer=11, texttype=0))
complex24.add(gdstk.Label('CL2#B', (2.56,1.12), layer=11, texttype=0))
complex24.add(gdstk.Label('CL3#A', (0.16,1.28), layer=11, texttype=0))
complex24.add(gdstk.Label('CL3#B', (0.48,1.28), layer=11, texttype=0))
complex24.add(gdstk.Label('CL4#A', (0.64,1.28), layer=11, texttype=0))
complex24.add(gdstk.Label('CL4#B', (0.8,1.28), layer=11, texttype=0))
complex24.add(gdstk.Label('CL4#C', (0.96,1.28), layer=11, texttype=0))
complex24.add(gdstk.Label('CL5#B', (3.04,1.12), layer=11, texttype=0))
complex24.add(gdstk.Label('CL5#Y', (3.36,1.44), layer=11, texttype=0))
complex24.add(gdstk.Label('CL6#A', (3.84,1.12), layer=11, texttype=0))
complex24.add(gdstk.Label('CL6#B', (3.68,1.12), layer=11, texttype=0))
complex24.add(gdstk.Label('CL6#C', (3.52,1.12), layer=11, texttype=0))

lib.write_gds('COMPLEX24.gds')
